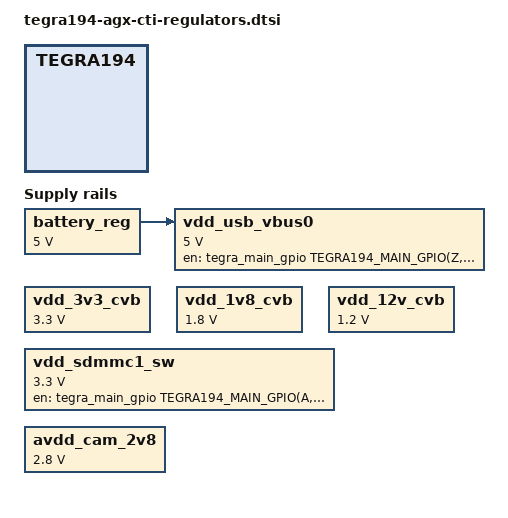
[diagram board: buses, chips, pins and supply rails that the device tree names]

#include <dt-bindings/gpio/tegra194-gpio.h>
#include <t19x-common-platforms/tegra194-platforms-simple-bus.dtsi>

//Module PMIC Regulators
#include "../../common/tegra194-spmic-p2888-0001.dtsi"


/ {
	fixed-regulators {
 
        //Carrier Board 5V
        battery_reg: regulator@0 {
            compatible = "regulator-fixed";
            reg = <0>;
            regulator-name = "vdd-ac-bat";
            regulator-min-microvolt = <5000000>;
            regulator-max-microvolt = <5000000>;
            regulator-always-on;
        };

        //Carrier Board 3.3V
		vdd_3v3_cvb: regulator@101 {
			compatible = "regulator-fixed";
			reg = <101>;
			regulator-name = "vdd-3v3-cvb";
			regulator-min-microvolt = <3300000>;
			regulator-max-microvolt = <3300000>;
            regulator-always-on;
		};

        //Carrier Board 1.8V
		vdd_1v8_cvb: regulator@102 {
			compatible = "regulator-fixed";
			reg = <102>;
			regulator-name = "vdd-1v8-cvb";
			regulator-min-microvolt = <1800000>;
			regulator-max-microvolt = <1800000>;
            regulator-always-on;
		};

        //Carrier Board 12V
		vdd_12v_cvb: regulator@113 {
			compatible = "regulator-fixed";
			reg = <113>;
			regulator-name = "vdd-12v-cvb";
			regulator-min-microvolt = <1200000>;
			regulator-max-microvolt = <1200000>;
            regulator-always-on;
		};

        //SD Card Power Enable
		vdd_sdmmc1_sw: regulator@106 {
			compatible = "regulator-fixed";
			reg = <106>;
			regulator-name = "vdd-sdmmc1-sw";
			regulator-min-microvolt = <3300000>;
			regulator-max-microvolt = <3300000>;
			gpio = <&tegra_main_gpio TEGRA194_MAIN_GPIO(A, 0) 0>;
			enable-active-high;
		};

        //Carrier Board Camera 2.8V
		avdd_cam_2v8: regulator@107 {
			compatible = "regulator-fixed";
			reg = <107>;
			regulator-name = "avdd-cam-2v8";
			regulator-min-microvolt = <2800000>;
			regulator-max-microvolt = <2800000>;
            regulator-always-on;
		};

        //USB VBUS 5V
		vdd_usb_vbus0: regulator@114 {
			compatible = "regulator-fixed";
			reg = <114>;
			regulator-name = "vdd-usb-vbus0";
			regulator-min-microvolt = <5000000>;
			regulator-max-microvolt = <5000000>;
			gpio = <&tegra_main_gpio TEGRA194_MAIN_GPIO(Z, 1) 0>;
			enable-active-high;
			vin-supply = <&battery_reg>;
		};
	};
};
